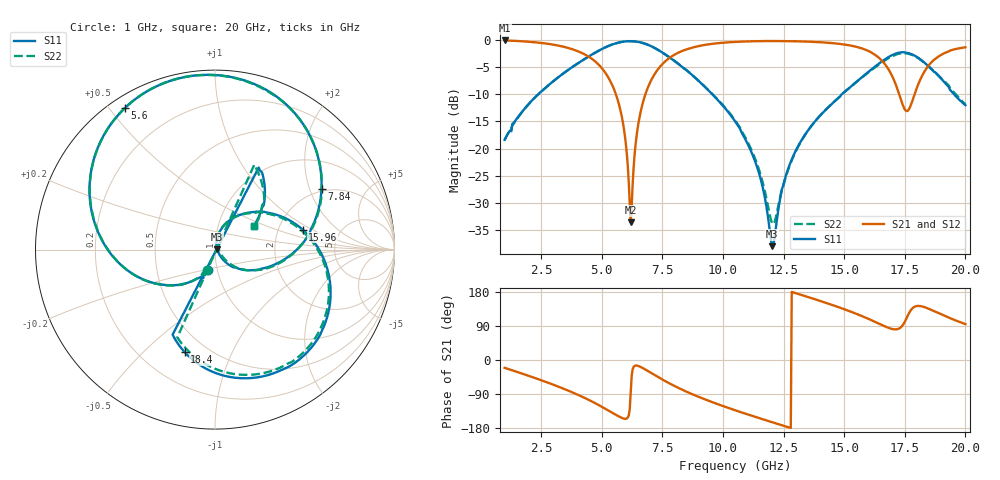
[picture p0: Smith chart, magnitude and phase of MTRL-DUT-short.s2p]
! Multiline TRL de-embedded results
! Powered by MTRL v0.1 based on Matlab. Written by Simon.
! 29-Mar-2016 20:37:40
# hz S ma R 50
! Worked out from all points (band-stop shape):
!   476 points, 1 GHz to 20 GHz, reference 50 ohm
!   highest |S21| = -0.08 dB at 1 GHz (marker M1); lowest = -33.6 dB at 6.2 GHz (marker M2)
!   |S21| within 3 dB of the highest: start of sweep to 4.47 GHz; 7.867 GHz to 16.38 GHz (8.515 GHz wide, 70.2 % of centre) (the widest 2 of 3)
!   lowest |S11| = -38.0 dB at 12.04 GHz (marker M3), VSWR 1.03, Z = 51.3 + j0.233 ohm
!   |S11| at or under -10 dB: start of sweep to 2.383 GHz; 9.568 GHz to 14.9 GHz (5.331 GHz wide, 43.6 % of centre); 19.53 GHz to end of sweep
!   |S22| runs from -33.9 to -0.2 dB; largest |S21 - S12| = 1e-09
!   S11 on the Smith chart (normalised r, x): 1 GHz: 0.90, -0.21; 5.6 GHz: 0.04, +0.55; 7.84 GHz: 1.91, +2.42; 15.96 GHz: 2.73, +0.81; 18.4 GHz: 0.38, -0.67; 20 GHz: 1.48, +0.41
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1e9  0.1205 -109.7  0.9912 -20.7  0.9912 -20.7  0.1205 -112.3
2.84e9  0.3892 -151.4  0.9197 -61.1  0.9197 -61.1  0.3879 -151.0
4.2e9  0.6479 173.0  0.7573 -97.0  0.7573 -97.0  0.6477 172.8
5.6e9  0.9344 122.6  0.3117 -145.1  0.3117 -145.1  0.9344 122.7
5.92e9  0.9681 108.6  0.152 -154.7  0.152 -154.7  0.9681 108.9
6.2e9  0.9765 96.0  0.02092 -87.1  0.02092 -87.1  0.9764 96.4
6.6e9  0.9517 78.0  0.2139 -18.0  0.2139 -18.0  0.9514 78.8
7.36e9  0.8032 46.6  0.5511 -46.2  0.5511 -46.2  0.8035 46.5
7.84e9  0.6825 29.6  0.6951 -63.1  0.6951 -63.1  0.6833 29.4
9.04e9  0.4124 -5.3  0.8834 -98.3  0.8834 -98.3  0.414 -5.7
1.052e10  0.1766 -37.9  0.961 -132.9  0.961 -132.9  0.1798 -36.7
1.148e10  0.06059 -51.4  0.9771 -153.0  0.9771 -153.0  0.06498 -44.0
1.204e10  0.01265 10.4  0.979 -164.3  0.979 -164.3  0.02038 8.6
1.268e10  0.0642 78.6  0.9766 -177.1  0.9766 -177.1  0.06286 77.4
1.368e10  0.1654 66.2  0.963 162.7  0.963 162.7  0.1651 66.8
1.596e10  0.5007 12.9  0.8007 109.7  0.8007 109.7  0.4952 12.3
1.684e10  0.699 -23.1  0.5327 84.6  0.5327 84.6  0.6827 -21.6
1.76e10  0.7622 -64.9  0.2218 114.0  0.2218 114.0  0.7505 -61.4
1.84e10  0.5951 -106.6  0.5502 137.4  0.5502 137.4  0.5948 -103.0
1.856e10  0.5512 -113.3  0.6108 133.2  0.6108 133.2  0.5528 -109.9
1.876e10  0.5039 58.7  0.6703 127.5  0.6703 127.5  0.5035 62.6
2e10  0.2515 31.0  0.8573 94.8  0.8573 94.8  0.2555 30.7
